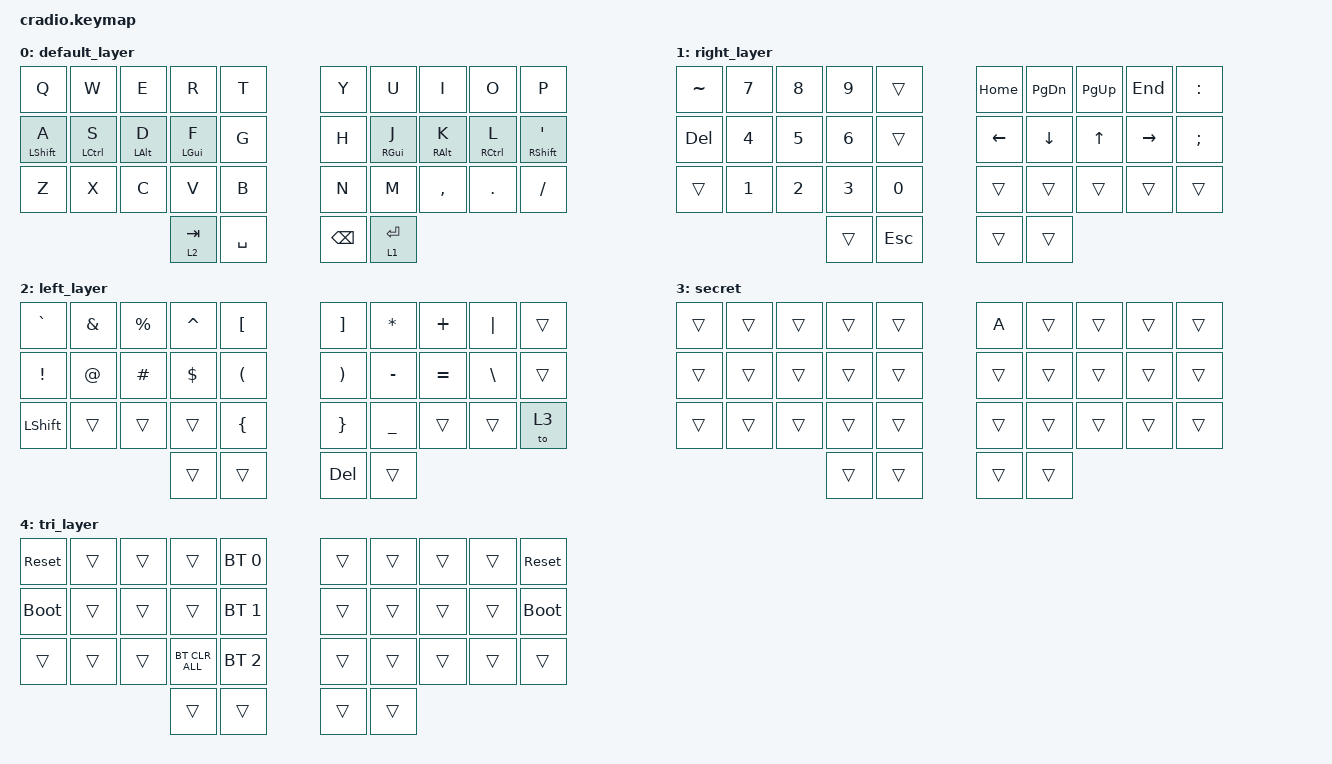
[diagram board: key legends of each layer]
#include <behaviors.dtsi>
#include <dt-bindings/zmk/bt.h>
#include <dt-bindings/zmk/keys.h>

/ {
    keymap {
        compatible = "zmk,keymap";

        default_layer {
            bindings = <
&kp Q        &kp W        &kp E       &kp R       &kp T    &kp Y  &kp U       &kp I       &kp O        &kp P
&mt LSHFT A  &mt LCTRL S  &mt LALT D  &mt LGUI F  &kp G    &kp H  &mt RGUI J  &mt RALT K  &mt RCTRL L  &mt RSHFT APOS
&kp Z        &kp X        &kp C       &kp V       &kp B    &kp N  &kp M       &kp COMMA   &kp DOT      &kp FSLH
&lt 2 TAB    &kp SPACE                                                                    &kp BSPC     &lt 1 ENTER
            >;
        };

        right_layer {
            bindings = <
&kp TILDE  &kp N7      &kp N8  &kp N9  &trans    &kp HOME        &kp PAGE_DOWN   &kp PG_UP     &kp END          &kp COLON
&kp DEL    &kp N4      &kp N5  &kp N6  &trans    &kp LEFT_ARROW  &kp DOWN_ARROW  &kp UP_ARROW  &kp RIGHT_ARROW  &kp SEMI
&trans     &kp N1      &kp N2  &kp N3  &kp N0    &trans          &trans          &trans        &trans           &trans
&trans     &kp ESCAPE                                                                          &trans           &trans
            >;
        };

        left_layer {
            bindings = <
&kp GRAVE   &kp AMPS  &kp PERCENT  &kp CARET  &kp LBKT    &kp RBKT  &kp ASTRK  &kp PLUS   &kp PIPE  &trans
&kp EXCL    &kp AT    &kp HASH     &kp DLLR   &kp LPAR    &kp RPAR  &kp MINUS  &kp EQUAL  &kp BSLH  &trans
&kp LSHIFT  &trans    &trans       &trans     &kp LBRC    &kp RBRC  &kp UNDER  &trans     &trans    &to 3
&trans      &trans                                                                        &kp DEL   &trans
            >;
        };

        secret {
            bindings = <
&trans  &trans  &trans  &trans  &trans    &kp A   &trans  &trans  &trans  &trans
&trans  &trans  &trans  &trans  &trans    &trans  &trans  &trans  &trans  &trans
&trans  &trans  &trans  &trans  &trans    &trans  &trans  &trans  &trans  &trans
&trans  &trans                                                    &trans  &trans
            >;
        };

        tri_layer {
            bindings = <
&sys_reset   &trans  &trans  &trans          &bt BT_SEL 0    &trans  &trans  &trans  &trans  &sys_reset
&bootloader  &trans  &trans  &trans          &bt BT_SEL 1    &trans  &trans  &trans  &trans  &bootloader
&trans       &trans  &trans  &bt BT_CLR_ALL  &bt BT_SEL 2    &trans  &trans  &trans  &trans  &trans
&trans       &trans                                                                  &trans  &trans
            >;
        };
    };

    conditional_layers {
        compatible = "zmk,conditional-layers";

        tri {
            if-layers = <1 2>;
            then-layer = <4>;
        };
    };
};
